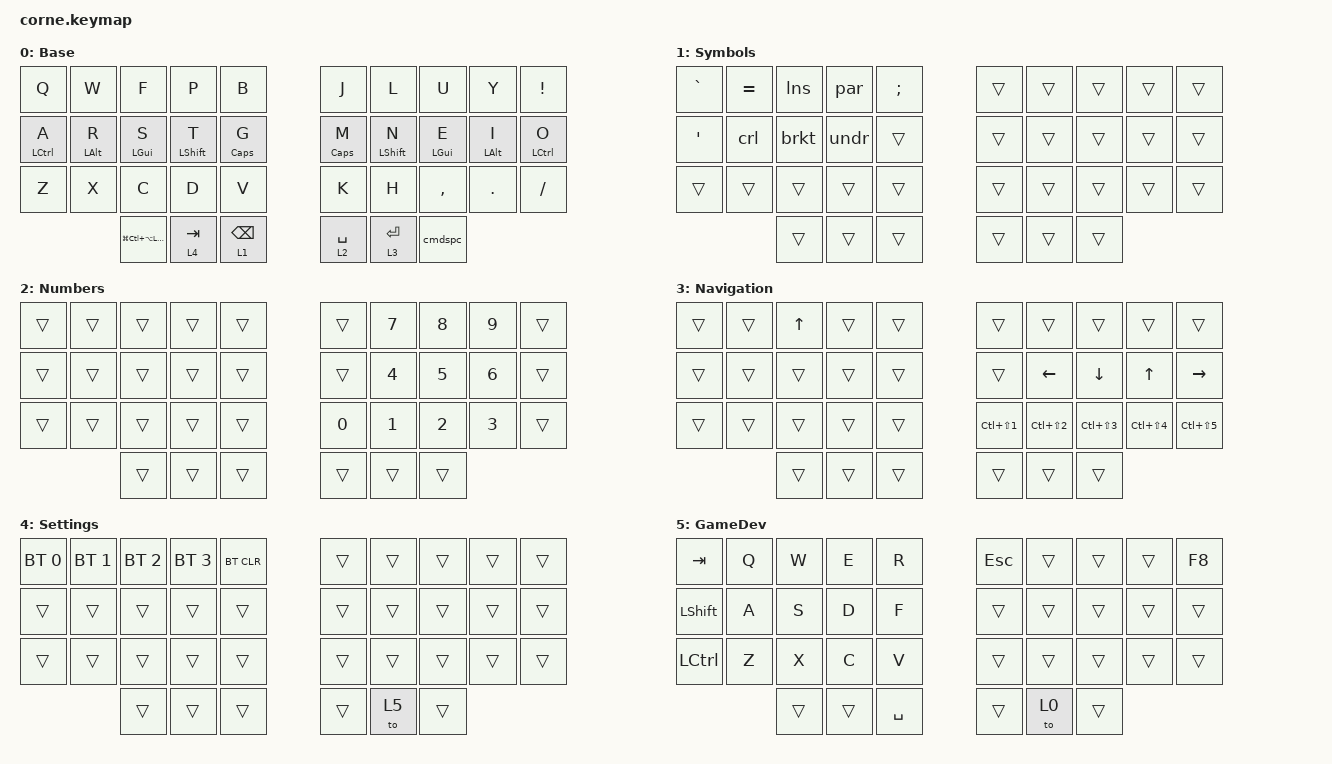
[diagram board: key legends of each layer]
/*
 * Copyright (c) 2020 The ZMK Contributors
 *
 * SPDX-License-Identifier: MIT
 */

#include <behaviors.dtsi>
#include <dt-bindings/zmk/keys.h>
#include <dt-bindings/zmk/bt.h>



/ {
    macros {
        cmdspc: cmdspc {
            compatible = "zmk,behavior-macro";
            #binding-cells = <0>;
            bindings
                = <&macro_press &kp LGUI>
                , <&macro_tap &kp SPACE>
                , <&macro_release &kp LGUI>
                ;
        };
        
 };
    behaviors {
        hml: home_row_mod_left {
            compatible = "zmk,behavior-hold-tap";
            #binding-cells = <2>;
            flavor = "balanced";
            require-prior-idle-ms = <150>;
            tapping-term-ms = <280>;
            quick-tap-ms = <175>;
            bindings = <&kp>, <&kp>;
            hold-trigger-key-positions = <5 6 7 8 9 15 16 17 18 19 25 26 27 28 29 33 34 35>; // List of keys on the right side of the keyboard
            hold-trigger-on-release;
        };
        hmr: home_row_mod_right {
            compatible = "zmk,behavior-hold-tap";
            #binding-cells = <2>;
            flavor = "balanced";
            require-prior-idle-ms = <150>;
            tapping-term-ms = <280>;
            quick-tap-ms = <175>;
            bindings = <&kp>, <&kp>;
            hold-trigger-key-positions = <0 1 2 3 4 10 11 12 13 14 20 21 22 23 24 30 31 32>; // List of keys on the left side of the keyboard
            hold-trigger-on-release;
        };
        hsl: home_shift_left {
            compatible = "zmk,behavior-hold-tap";
            #binding-cells = <2>;
            flavor = "balanced";
            tapping-term-ms = <200>;
            quick-tap-ms = <175>;
            bindings = <&kp>, <&kp>;
            hold-trigger-key-positions = <5 6 7 8 9 15 16 17 18 19 25 26 27 28 29 33 34 35>;
            // Note: hold-trigger-on-release is omitted here so opposite-hand shifts trigger immediately
        };

        hsr: home_shift_right {
            compatible = "zmk,behavior-hold-tap";
            #binding-cells = <2>;
            flavor = "balanced";
            tapping-term-ms = <200>;
            quick-tap-ms = <175>;
            bindings = <&kp>, <&kp>;
            hold-trigger-key-positions = <0 1 2 3 4 10 11 12 13 14 20 21 22 23 24 30 31 32>;
        };
        KHT: KHT {
            compatible = "zmk,behavior-hold-tap";
            #binding-cells = <2>;
            flavor = "tap-preferred";
            tapping-term-ms = <175>;
            bindings = <&kp>, <&kp>;
        };
       
        brkt: brkt {
            compatible = "zmk,behavior-mod-morph";
            #binding-cells = <0>;
            bindings = <&kp LBKT>, <&kp RBKT>;
            mods = <(MOD_LSFT|MOD_RSFT)>;
        };
        crl: crl {
            compatible = "zmk,behavior-mod-morph";
            #binding-cells = <0>;
            bindings = <&kp LBRC>, <&kp RBRC>;
            mods = <(MOD_LSFT|MOD_RSFT)>;
        };
        undr: undr {
            compatible = "zmk,behavior-mod-morph";
            #binding-cells = <0>;
            bindings = <&kp UNDER>, <&kp KP_MINUS>;
            mods = <(MOD_LSFT|MOD_RSFT)>;
        };
        lns: lns {
            compatible = "zmk,behavior-mod-morph";
            #binding-cells = <0>;
            bindings = <&kp PIPE>, <&kp BSLH>;
            mods = <(MOD_LSFT|MOD_RSFT)>;
        };
        par: par {
            compatible = "zmk,behavior-mod-morph";
            #binding-cells = <0>;
            bindings = <&kp LPAR>, <&kp RPAR>;
            mods = <(MOD_LSFT|MOD_RSFT)>;
        };
    };

    chosen {
        zmk,physical-layout = &foostan_corne_5col_layout;
    };

    
        keymap {
                compatible = "zmk,keymap";

                default_layer {
// -----------------------------------------------------------------------------------------
// |  Q  |  W  |  F  |  P  |  B  |     |  J  |  L   |  U   |  Y   | ! |
// |  A  |  R  |  S  |  T  |  G  |     |  M  |  N   |  E   |  I   | O | 
// |  Z  |  X  |  C  |  D  |  V  |     |  K  |  H   |  ,   |  .   | / |
//             | SUPR | TAB | BSPC |     | SPC | ENTR  | SPCL |
                        display-name = "Base";
                        bindings = <
   &kp Q        &kp W    &kp F    &kp P    &kp B         &kp J    &kp L    &kp U    &kp Y    &kp EXCL
   &hml LCTRL A &hml LALT R &hml LGUI S &hsl LSHFT T &hml CAPS G     &hmr CAPS M   &hsr LSHFT N  &hmr LGUI E     &hmr LALT I     &hmr LCTRL O
   &kp Z &kp X &kp C &kp D &kp V     &kp K   &kp H  &kp COMMA  &kp DOT  &kp FSLH
        &kp LG(LC(LA(LSHIFT))) &lt 4 TAB &lt 1 BSPC     &lt 2 SPACE &lt 3 ENTER  &cmdspc
                        >;
                };

                symbols {
// -----------------------------------------------------------------------------------------
// |  ^  |  &  |  *  |  (  |  ;  |     |     |     |     |     |     |
// |  '  |  {  |  [  |  _  |  [  |     |     |     |     |     |     |
// |     |     |     |     |     |     |     |     |     |     |     |
//               |     |     |     |     |     |     |     |
                        display-name = "Symbols";
                        bindings = <
   &kp GRAVE    &kp EQUAL    &lns    &par    &kp SEMI              &trans    &trans    &trans    &trans    &trans
   &kp SQT      &crl         &brkt   &undr  &trans                &trans    &trans    &trans    &trans    &trans
   &trans       &trans       &trans  &trans  &trans                &trans    &trans    &trans    &trans    &trans 
                             &trans     &trans    &trans           &trans   &trans   &trans
                        >;
                };

                numbers {
// -----------------------------------------------------------------------------------------
// |     |     |     |     |     |     |     |  7  |  8  |  9  |     |
// |     |     |     |     |     |     |     |  4  |  5  |  6  |     |
// |     |     |     |     |     |     |  0  |  1  |  2  |  3  |     |
//             |     |     |     |     |     |     |     |
                        display-name = "Numbers";
                        bindings = <

   &trans    &trans    &trans    &trans    &trans        &trans    &kp N7    &kp N8    &kp N9   &trans
   &trans    &trans    &trans    &trans    &trans        &trans    &kp N4    &kp N5    &kp N6   &trans
   &trans    &trans    &trans    &trans    &trans        &kp N0    &kp N1    &kp N2    &kp N3   &trans
                       &trans  &trans   &trans           &trans   &trans    &trans
                        >;
                };

            nav {
// -----------------------------------------------------------------------------------------
// |     |     |     |     |     |     |       |       |       |       |       |
// |     |     |     |     |     |     |       |  lft  |  dwn  |  up   | rght  |
// |     |     |     |     |     |     |wrksp 1|wrksp 2|wrksp 3|wrksp 4|wrksp 5|
//             |     |     |     |     |       |       |       |
                    display-name = "Navigation";
                    bindings = <

   &trans &trans &kp UP &trans &trans                          &trans    &trans    &trans    &trans    &trans
   &trans &trans &trans &trans &trans                          &trans    &kp LEFT  &kp DOWN  &kp UP    &kp RIGHT
   &trans    &trans    &trans    &trans    &trans              &kp LC(LS(N1)) &kp LC(LS(N2)) &kp LC(LS(N3)) &kp LC(LS(N4)) &kp LC(LS(N5))
   &trans &trans &trans                                        &trans    &trans    &trans
                    >;
                };

            settings {
// -----------------------------------------------------------------------------------------
// |  bt 0   |  bt 1  |   bt 2  |   bt 3  |  bt clr    |     |     |     |     |      |
// |         |        |         |         |           |     |     |     |     |     |     |
// |         |        |         |         |           |     |     |     |     |     |     |
//             |     |     |     |     |     |     |     |
                    display-name = "Settings";
                    bindings = <

   &bt BT_SEL 0 &bt BT_SEL 1 &bt BT_SEL 2 &bt BT_SEL 3 &bt BT_CLR     &trans &trans &trans &trans &trans
   &trans &trans &trans &trans &trans                                 &trans &trans &trans &trans &trans
   &trans &trans &trans &trans &trans                                 &trans &trans &trans &trans &trans
   &trans &trans &trans                                               &trans &to 5 &trans
                    >;
                };

            gamedev {
// -----------------------------------------------------------------------------------------
// |  TAB  |  Q  |  W  |  E  |  R  |     |  ESC  |     |     |     |  F8  |
// |  SHFT |  A  |  S  |  D  |  F  |     |     |     |     |     |     |
// |  CTRL |  Z  |  X  |  C  |  V  |     |     |     |     |     |     |
//             |     |     |     |     |     |     |     |
                    display-name = "GameDev";
                    bindings = <

   &kp TAB      &kp Q    &kp W    &kp E    &kp R     &kp ESC &trans &trans &trans &kp F8
   &kp LSHFT    &kp A    &kp S    &kp D    &kp F     &trans  &trans &trans &trans &trans
   &kp LCTL     &kp Z    &kp X    &kp C    &kp V     &trans  &trans &trans &trans &trans
   &trans &trans &kp SPACE                                               &trans &to 0 &trans
                    >;
                };
        };
};
